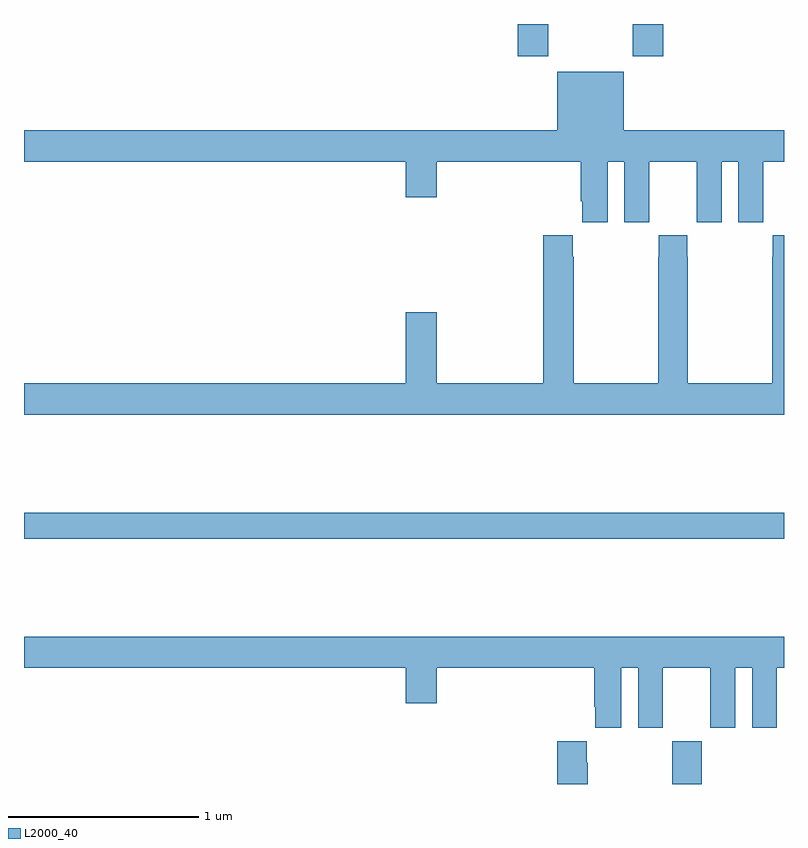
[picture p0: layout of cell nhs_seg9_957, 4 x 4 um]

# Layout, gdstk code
import gdstk
lib = gdstk.Library(unit=1e-6, precision=1e-09)
def R(c, l, rs):  # rectangles x0, y0, x1, y1
    for r in rs: c.add(gdstk.rectangle(r[:2], r[2:], *l))
def P(c, l, *ps):  # polygons
    for p in ps: c.add(gdstk.Polygon(p, *l))
L2000_40 = (2000, 40)

nhs_seg9_957 = lib.new_cell('nhs_seg9_957')
R(nhs_seg9_957, L2000_40, [(166.411,1170.5,166.566,1170.724), (163,1171.792,167,1171.928), (165.599,1174.329,165.759,1174.5), (166.204,1174.329,166.364,1174.5)])
P(nhs_seg9_957, L2000_40, [(166.072,1173.776),(166.16,1173.776),(166.16,1173.456),(166.29,1173.456),(166.29,1173.568),(166.291,1173.568),(166.291,1173.776),(166.541,1173.776),(166.541,1173.568),(166.542,1173.568),(166.542,1173.456),(166.672,1173.456),(166.672,1173.776),(166.76,1173.776),(166.76,1173.456),(166.89,1173.456),(166.89,1173.568),(166.891,1173.568),(166.891,1173.776),(167,1173.776),(167,1173.94),(166.156,1173.94),(166.156,1174.249),(165.806,1174.249),(165.806,1173.94),(163,1173.94),(163,1173.776),(165.008,1173.776),(165.008,1173.588),(165.172,1173.588),(165.172,1173.776),(165.929,1173.776),(165.929,1173.568),(165.938,1173.568),(165.938,1173.456),(166.072,1173.456)],
  [(167,1173.388),(166.941,1173.388),(166.941,1173.275),(166.939,1173.275),(166.939,1172.608),(166.494,1172.608),(166.494,1173.275),(166.491,1173.275),(166.491,1173.388),(166.341,1173.388),(166.341,1173.275),(166.339,1173.275),(166.339,1172.608),(165.894,1172.608),(165.894,1173.275),(165.887,1173.275),(165.887,1173.388),(165.734,1173.388),(165.734,1172.608),(165.172,1172.608),(165.172,1172.983),(165.008,1172.983),(165.008,1172.608),(163,1172.608),(163,1172.444),(167,1172.444)],
  [(166.144,1171.112),(166.232,1171.112),(166.232,1170.795),(166.363,1170.795),(166.363,1171.112),(166.613,1171.112),(166.613,1170.795),(166.744,1170.795),(166.744,1171.112),(166.832,1171.112),(166.832,1170.795),(166.963,1170.795),(166.963,1171.112),(167,1171.112),(167,1171.276),(163,1171.276),(163,1171.112),(165.008,1171.112),(165.008,1170.924),(165.172,1170.924),(165.172,1171.112),(166.001,1171.112),(166.001,1170.907),(166.007,1170.907),(166.007,1170.795),(166.144,1170.795)],
  [(165.966,1170.611),(165.961,1170.611),(165.961,1170.724),(165.806,1170.724),(165.806,1170.5),(165.966,1170.5)])

lib.write_gds('nhs_seg9_957.gds')
